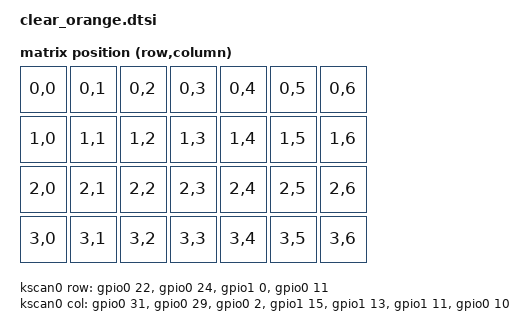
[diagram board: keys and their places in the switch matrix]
#include <dt-bindings/zmk/matrix_transform.h>

/ {
    chosen {
        zmk,kscan = &kscan0;
        zmk,matrix-transform = &default_transform;
    };

    default_transform: keymap_transform {
        compatible = "zmk,matrix-transform";
        columns = <7>;
        rows = <4>;
        map = <
            RC(0,0) RC(0,1) RC(0,2) RC(0,3) RC(0,4) RC(0,5) RC(0,6)
            RC(1,0) RC(1,1) RC(1,2) RC(1,3) RC(1,4) RC(1,5) RC(1,6)
            RC(2,0) RC(2,1) RC(2,2) RC(2,3) RC(2,4) RC(2,5) RC(2,6)
            RC(3,0) RC(3,1) RC(3,2) RC(3,3) RC(3,4) RC(3,5) RC(3,6)
        >;
    };

    kscan0: kscan {
        compatible = "zmk,kscan-gpio-matrix";
        // 回路図に基づき、列から行方向へスキャンするように修正
        diode-direction = "col2row"; 

        // Row側をプルアップして待ち受けます
        row-gpios
            = <&gpio0 22 (GPIO_ACTIVE_LOW | GPIO_PULL_UP)> // Row0: 7ピン
            , <&gpio0 24 (GPIO_ACTIVE_LOW | GPIO_PULL_UP)> // Row1: 8ピン
            , <&gpio1 0  (GPIO_ACTIVE_LOW | GPIO_PULL_UP)> // Row2: 9ピン
            , <&gpio0 11 (GPIO_ACTIVE_LOW | GPIO_PULL_UP)> // Row3: 10ピン
            ;

        // Col側をスキャン信号として使用します
        col-gpios
            = <&gpio0 31 GPIO_ACTIVE_LOW> // Col0: 20ピン
            , <&gpio0 29 GPIO_ACTIVE_LOW> // Col1: 19ピン
            , <&gpio0 2  GPIO_ACTIVE_LOW> // Col2: 18ピン
            , <&gpio1 15 GPIO_ACTIVE_LOW> // Col3: 17ピン
            , <&gpio1 13 GPIO_ACTIVE_LOW> // Col4: 16ピン
            , <&gpio1 11 GPIO_ACTIVE_LOW> // Col5: 15ピン
            , <&gpio0 10 GPIO_ACTIVE_LOW> // Col6: 14ピン
            ;
    };
};
